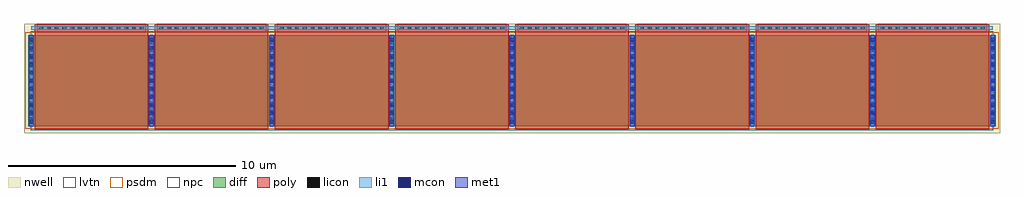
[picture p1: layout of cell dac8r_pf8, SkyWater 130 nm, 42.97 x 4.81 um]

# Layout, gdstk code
import gdstk
lib = gdstk.Library(unit=1e-6, precision=1e-09)
def R(c, l, rs):  # rectangles x0, y0, x1, y1
    for r in rs: c.add(gdstk.rectangle(r[:2], r[2:], *l))
def A(c, l, x, y, w, h, nx, ny, dx, dy):  # array of equal rectangles
    R(c, l, [(x+i*dx, y+j*dy, x+i*dx+w, y+j*dy+h) for i in range(nx) for j in range(ny)])
nwell = (64, 20)
diff = (65, 20)
poly = (66, 20)
licon = (66, 44)
li1 = (67, 20)
mcon = (67, 44)
met1 = (68, 20)
psdm = (94, 20)
npc = (95, 20)
lvtn = (125, 44)

dac8r_pf8 = lib.new_cell('dac8r_pf8')
R(dac8r_pf8, nwell, [(-21.485,-2.49,21.485,2.32)])
R(dac8r_pf8, diff, [(-21.305,-2.18,21.305,1.82)])
A(dac8r_pf8, poly, -21.015, -2.31, 5, 4.615, 8, 1, 5.29, 0)
A(dac8r_pf8, licon, -21.245, -1.965, 0.17, 0.17, 9, 11, 5.29, 0.34)
A(dac8r_pf8, licon, -20.81, 2.055, 0.17, 0.17, 14, 1, 0.34, 0)
A(dac8r_pf8, licon, -15.52, 2.055, 0.17, 0.17, 14, 1, 0.34, 0)
A(dac8r_pf8, licon, -10.23, 2.055, 0.17, 0.17, 14, 1, 0.34, 0)
A(dac8r_pf8, licon, -4.94, 2.055, 0.17, 0.17, 14, 1, 0.34, 0)
A(dac8r_pf8, licon, 0.35, 2.055, 0.17, 0.17, 14, 1, 0.34, 0)
A(dac8r_pf8, licon, 5.64, 2.055, 0.17, 0.17, 14, 1, 0.34, 0)
A(dac8r_pf8, licon, 10.93, 2.055, 0.17, 0.17, 14, 1, 0.34, 0)
A(dac8r_pf8, licon, 16.22, 2.055, 0.17, 0.17, 14, 1, 0.34, 0)
A(dac8r_pf8, li1, -21.245, -2.2, 0.17, 4.04, 9, 1, 5.29, 0)
R(dac8r_pf8, li1, [(-21.16,2.055,21.16,2.225)])
A(dac8r_pf8, mcon, -21.245, -2.065, 0.17, 0.17, 9, 11, 5.29, 0.36)
A(dac8r_pf8, met1, -21.275, -2.18, 0.23, 4, 9, 1, 5.29, 0)
R(dac8r_pf8, psdm, [(-21.43,-2.305,21.43,1.945)])
A(dac8r_pf8, npc, -20.91, 1.955, 4.79, 0.37, 8, 1, 5.29, 0)
R(dac8r_pf8, lvtn, [(-21.195,-2.36,21.195,2)])

lib.write_gds('dac8r_pf8.gds')
